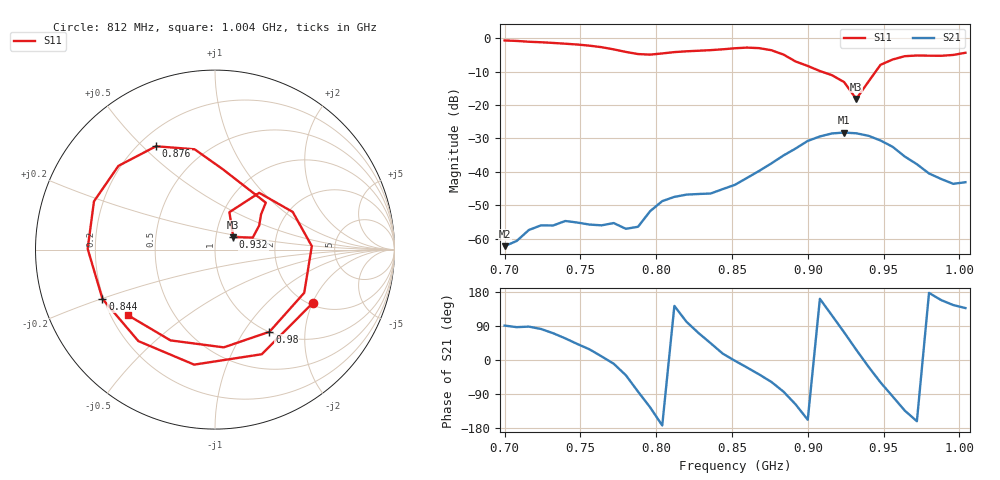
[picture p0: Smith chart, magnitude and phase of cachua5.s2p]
# Hz S RI R 50
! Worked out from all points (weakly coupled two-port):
!   39 points, 700 MHz to 1.004 GHz, reference 50 ohm
!   highest |S21| = -28.24 dB at 924 MHz (marker M1); lowest = -62.3 dB at 700 MHz (marker M2)
!   lowest |S11| = -18.2 dB at 932 MHz (marker M3), VSWR 1.28, Z = 60.7 + j8.56 ohm
!   |S11| at or under -10 dB: 909.3 MHz to 944.8 MHz (35.5 MHz wide, 3.83 % of centre)
!   S12 and S22 are empty: the file has one direction only
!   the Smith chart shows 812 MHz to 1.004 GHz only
!   S11 on the Smith chart (normalised r, x): 812 MHz: 2.10, -2.02; 844 MHz: 0.20, -0.20; 876 MHz: 0.27, +0.55; 932 MHz: 1.21, +0.17; 980 MHz: 1.01, -1.32; 1.004 GHz: 0.27, -0.31
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7e8  0.7635 0.5282  -1.15e-05 0.000768  0 0  0 0
7.24e8  0.8319 -0.2633  0.000223 0.00156  0 0  0 0
7.4e8  0.4454 -0.7003  0.000994 0.00154  0 0  0 0
7.56e8  -0.1946 -0.7508  0.00143 0.000763  0 0  0 0
7.72e8  -0.6551 -0.1912  0.00168 -0.000295  0 0  0 0
7.8e8  -0.583 0.2258  0.00107 -0.000903  0 0  0 0
7.88e8  -0.2343 0.5315  0.000175 -0.00149  0 0  0 0
7.96e8  0.2537 0.5096  -0.00147 -0.00211  0 0  0 0
8.04e8  0.5719 0.1579  -0.00361 -0.000461  0 0  0 0
8.12e8  0.5467 -0.2953  -0.00335 0.00255  0 0  0 0
8.28e8  -0.1161 -0.6409  0.00152 0.00439  0 0  0 0
8.44e8  -0.627 -0.2745  0.00528 0.00157  0 0  0 0
8.52e8  -0.7095 0.00451  0.00639 -0.000241  0 0  0 0
8.76e8  -0.3287 0.5757  0.00711 -0.0113  0 0  0 0
9e8  0.283 0.2614  -0.0269 -0.011  0 0  0 0
9.08e8  0.2567 0.1968  -0.0321 0.0108  0 0  0 0
9.24e8  0.2103 0.067  0.0113 0.037  0 0  0 0
9.32e8  0.1018 0.0695  0.0336 0.0172  0 0  0 0
9.48e8  0.2463 0.3162  0.0151 -0.0253  0 0  0 0
9.56e8  0.4333 0.2096  -0.00254 -0.0236  0 0  0 0
9.8e8  0.3035 -0.4578  -0.00942 0.000468  0 0  0 0
1.004e9  -0.4844 -0.3659  -0.00511 0.00475  0 0  0 0
